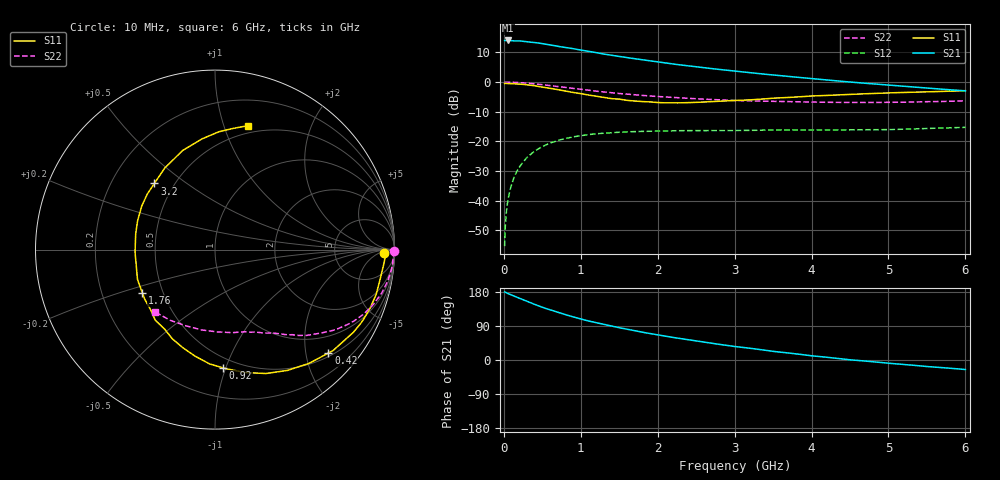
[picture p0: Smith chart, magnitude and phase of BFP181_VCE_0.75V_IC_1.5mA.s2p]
! Infineon Technologies  Discrete & RF Semiconductors
! BFP181
! VCE = 0.75V,  IC =  1.5 mA
! Common Emitter S-Parameters:  Jan 2016
# GHz  S  MA  R  50
!  f  S11  S21  S12  S22
! GHz  MAG  ANG  MAG  ANG  MAG  ANG  MAG  ANG
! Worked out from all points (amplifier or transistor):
!   210 points, 10 MHz to 6 GHz, reference 50 ohm
!   highest |S21| = 14.0 dB at 50 MHz (marker M1)
!   |S21| within 3 dB of that: start of sweep to 947.7 MHz
!   unconditionally stable (mu >= 1): 2.458 GHz to end of sweep
!   at 185 MHz: K = 0.09, MSG = 21.6 dB, |S12| = -29.4 dB
!   at 1.52 GHz: K = 0.66, MSG = 12.8 dB, |S12| = -16.9 dB
!   at 6 GHz: K = 1.31, MAG = 2.8 dB, |S12| = -15.3 dB
!   S11 on the Smith chart (normalised r, x): 10 MHz: 30, -12; 420 MHz: 0.57, -2.46; 920 MHz: 0.42, -0.98; 1.76 GHz: 0.38, -0.24; 3.2 GHz: 0.39, +0.38; 6 GHz: 0.43, +1.21
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0.01  0.9441 -1.3  5.017 179.5  0.0017 86.5  0.9965 -0.4
0.015  0.9472 -1.7  5.017 179.2  0.0028 86.8  0.9956 -0.7
0.025  0.9491 -2.6  5.017 178.4  0.0049 87.7  0.9945 -1.3
0.05  0.9437 -5.0  5.026 175.7  0.0097 89.2  0.9936 -2.6
0.105  0.9341 -10.8  4.968 171.1  0.0193 83.0  0.9921 -5.3
0.185  0.9253 -19.2  4.94 164.3  0.0338 77.7  0.9805 -9.3
0.3  0.8985 -30.8  4.778 155.3  0.0531 71.0  0.9591 -14.8
0.42  0.855 -42.4  4.605 145.2  0.0708 63.6  0.9261 -20.1
0.6  0.7856 -58.9  4.252 132.4  0.0932 54.0  0.8709 -27.2
0.8  0.7067 -75.9  3.844 119.6  0.1115 45.2  0.8091 -33.3
0.92  0.66 -86.2  3.616 112.7  0.1199 40.6  0.7721 -36.5
1.02  0.6299 -94.2  3.424 107.3  0.1252 37.3  0.7441 -38.8
1.3  0.5512 -115.5  2.965 93.9  0.1369 29.0  0.6796 -44.7
1.5  0.5151 -130.3  2.71 85.2  0.1418 24.7  0.6397 -47.8
1.76  0.4715 -149.1  2.412 75.0  0.1464 20.2  0.6 -51.7
2.02  0.4491 -166.8  2.164 65.7  0.1492 16.6  0.5675 -55.1
2.42  0.4505 168.8  1.86 52.7  0.1515 11.6  0.5293 -61.1
3.1  0.4929 136.4  1.484 33.4  0.1525 6.4  0.4839 -71.5
3.2  0.4999 132.5  1.437 31.0  0.1532 6.0  0.4804 -73.1
4.1  0.5872 105.6  1.112 9.2  0.1555 1.9  0.4564 -90.6
5.1  0.6614 86.7  0.867 -10.1  0.1587 0.2  0.4552 -113.1
6  0.714 75.2  0.71 -25.1  0.172 -0.7  0.4816 -133.5
